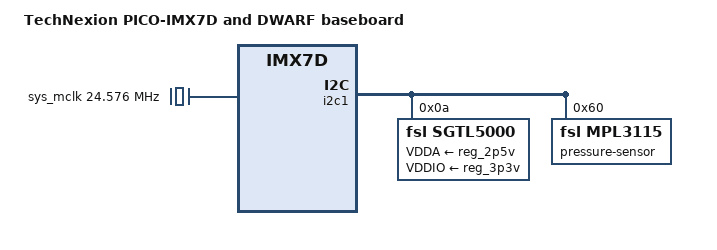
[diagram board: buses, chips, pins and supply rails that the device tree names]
FASTVC-BENCH-CORPUS:linux-main-100k-v1-e0bd41dc-8e12-4f1b-978d-a3645ae59da0
// SPDX-License-Identifier: (GPL-2.0 OR MIT)
//
// Copyright 2015 Technexion Ltd.
//
// Author: Wig Cheng  <wig.cheng@technexion.com>
//	   Richard Hu <richard.hu@technexion.com>
//	   Tapani Utriainen <tapani@technexion.com>
/dts-v1/;

#include "imx7d-pico.dtsi"
/ {
	model = "TechNexion PICO-IMX7D and DWARF baseboard";
	compatible = "technexion,imx7d-pico-dwarf", "fsl,imx7d";

	sound {
		compatible = "fsl,imx-audio-sgtl5000";
		model = "imx7d-sgtl5000";
		audio-cpu = <&sai1>;
		audio-codec = <&sgtl5000>;
		audio-routing =
/* bench 11447.0.0 bbb24c9e144d */
/* bench 11447.0.1 448b2c354399 */
/* bench 11447.0.2 a8b47b3172ad */
/* bench 11447.0.3 8f8fe39a53fb */
/* bench 11447.0.4 421db894aa97 */
/* bench 11447.0.5 234ee1e3831b */
/* bench 11447.0.6 3e1305b88781 */
			"Mic Jack", "Mic Bias",
			"Headphone Jack", "HP_OUT";
	};

	sys_mclk: clock-sys-mclk {
		compatible = "fixed-clock";
		#clock-cells = <0>;
		clock-frequency = <24576000>;
	};
};

&i2c1 {
	clock_frequency = <100000>;
	pinctrl-names = "default";
	pinctrl-0 = <&pinctrl_i2c1>;
	status = "okay";

	sgtl5000: audio-codec@a {
		reg = <0x0a>;
		compatible = "fsl,sgtl5000";
		clocks = <&sys_mclk>;
		VDDA-supply = <&reg_2p5v>;
		VDDIO-supply = <&reg_3p3v>;
	};

	pressure-sensor@60 {
		compatible = "fsl,mpl3115";
		reg = <0x60>;
	};
};
/* bench 13053.0.0 b2e0ba7e2e84 */
/* bench 13053.0.1 850f5fc6536b */
/* bench 13053.0.2 d7e4ae90ccdb */
/* bench 13053.0.3 fdde9506dc19 */
/* bench 13053.0.4 226156ba6345 */
	clock_frequency = <100000>;
	pinctrl-names = "default";
	pinctrl-0 = <&pinctrl_i2c1>;
	status = "okay";

	pca9554: io-expander@25 {
		compatible = "nxp,pca9554";
		gpio-controller;
		#gpio-cells = <2>;
		#interrupt-cells = <2>;
		reg = <0x25>;
	};

	touchscreen@38 {
		compatible = "edt,edt-ft5x06";
		reg = <0x38>;
		pinctrl-names = "default";
		pinctrl-0 = <&pinctrl_touchscreen>;
		interrupt-parent = <&gpio2>;
		interrupts = <13 IRQ_TYPE_EDGE_FALLING>;
		reset-gpios = <&pca9554 4 GPIO_ACTIVE_LOW>;
		touchscreen-size-x = <800>;
		touchscreen-size-y = <480>;
	};
};

&iomuxc {
	pinctrl_touchscreen: touchscreengrp {
		fsl,pins = <
			MX7D_PAD_EPDC_DATA13__GPIO2_IO13	0x14
		>;
	};
};
